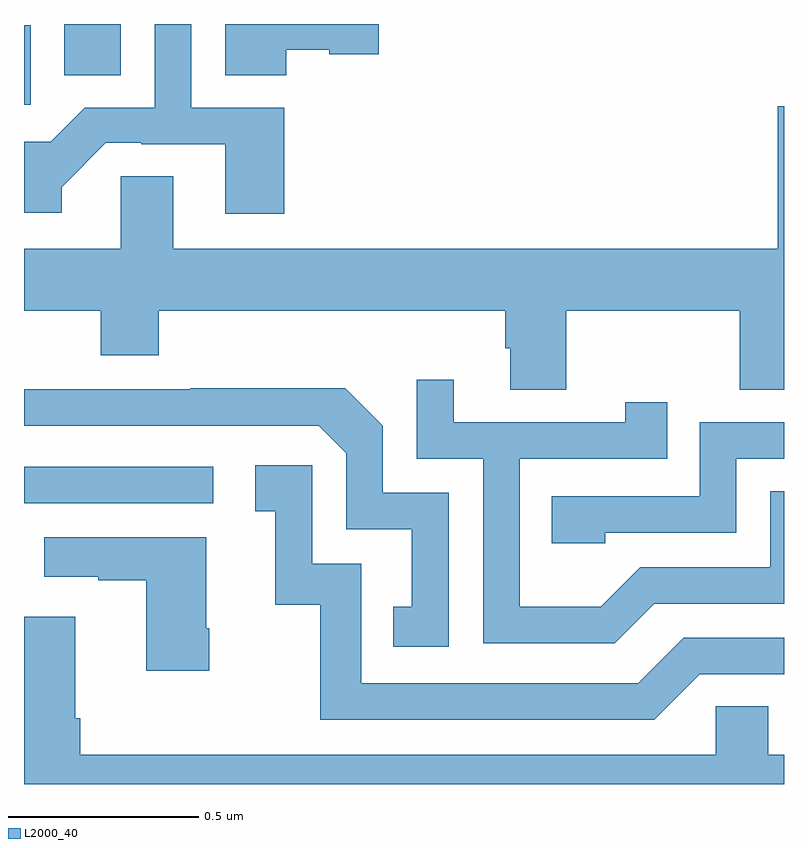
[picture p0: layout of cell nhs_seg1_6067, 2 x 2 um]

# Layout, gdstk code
import gdstk
lib = gdstk.Library(unit=1e-6, precision=1e-09)
def R(c, l, rs):  # rectangles x0, y0, x1, y1
    for r in rs: c.add(gdstk.rectangle(r[:2], r[2:], *l))
def P(c, l, *ps):  # polygons
    for p in ps: c.add(gdstk.Polygon(p, *l))
L2000_40 = (2000, 40)

nhs_seg1_6067 = lib.new_cell('nhs_seg1_6067')
R(nhs_seg1_6067, L2000_40, [(187,505.938,187.498,506.034), (187,506.987,187.018,507.196), (187.106,507.064,187.255,507.199)])
P(nhs_seg1_6067, L2000_40, [(187.69,507.131),(187.803,507.131),(187.803,507.119),(187.933,507.119),(187.933,507.199),(187.529,507.199),(187.529,507.064),(187.69,507.064)],
  [(187.685,506.979),(187.44,506.979),(187.44,507.199),(187.344,507.199),(187.344,506.979),(187.16,506.979),(187.07,506.889),(187,506.889),(187,506.702),(187.099,506.702),(187.099,506.77),(187.215,506.886),(187.309,506.886),(187.309,506.883),(187.529,506.883),(187.529,506.7),(187.685,506.7)],
  [(188.427,506.444),(188.884,506.444),(188.884,506.236),(189,506.236),(189,506.983),(188.984,506.983),(188.984,506.608),(187.393,506.608),(187.393,506.798),(187.254,506.798),(187.254,506.608),(187,506.608),(187,506.444),(187.202,506.444),(187.202,506.327),(187.355,506.327),(187.355,506.444),(188.267,506.444),(188.267,506.346),(188.279,506.346),(188.279,506.236),(188.427,506.236)],
  [(188.659,505.674),(189,505.674),(189,505.969),(188.964,505.969),(188.964,505.77),(188.622,505.77),(188.518,505.666),(188.304,505.666),(188.304,506.055),(188.693,506.055),(188.693,506.203),(188.582,506.203),(188.582,506.151),(188.131,506.151),(188.131,506.263),(188.034,506.263),(188.034,506.055),(188.208,506.055),(188.208,505.569),(188.554,505.569)],
  [(188.118,505.965),(187.944,505.965),(187.944,506.142),(187.846,506.24),(187.438,506.24),(187.438,506.238),(187,506.238),(187,506.142),(187.776,506.142),(187.848,506.07),(187.848,505.869),(188.021,505.869),(188.021,505.665),(187.972,505.665),(187.972,505.56),(188.118,505.56)],
  [(188.529,505.86),(188.874,505.86),(188.874,506.055),(189,506.055),(189,506.151),(188.778,506.151),(188.778,505.956),(188.389,505.956),(188.389,505.833),(188.529,505.833)],
  [(188.778,505.488),(189,505.488),(189,505.584),(188.736,505.584),(188.616,505.464),(187.887,505.464),(187.887,505.779),(187.758,505.779),(187.758,506.038),(187.608,506.038),(187.608,505.917),(187.661,505.917),(187.661,505.671),(187.779,505.671),(187.779,505.368),(188.658,505.368)],
  [(187.488,505.609),(187.48,505.609),(187.48,505.849),(187.053,505.849),(187.053,505.745),(187.196,505.745),(187.196,505.735),(187.322,505.735),(187.322,505.497),(187.488,505.497)],
  [(189,505.276),(188.959,505.276),(188.959,505.403),(188.82,505.403),(188.82,505.276),(187.148,505.276),(187.148,505.372),(187.135,505.372),(187.135,505.639),(187,505.639),(187,505.199),(189,505.199)])

lib.write_gds('nhs_seg1_6067.gds')
